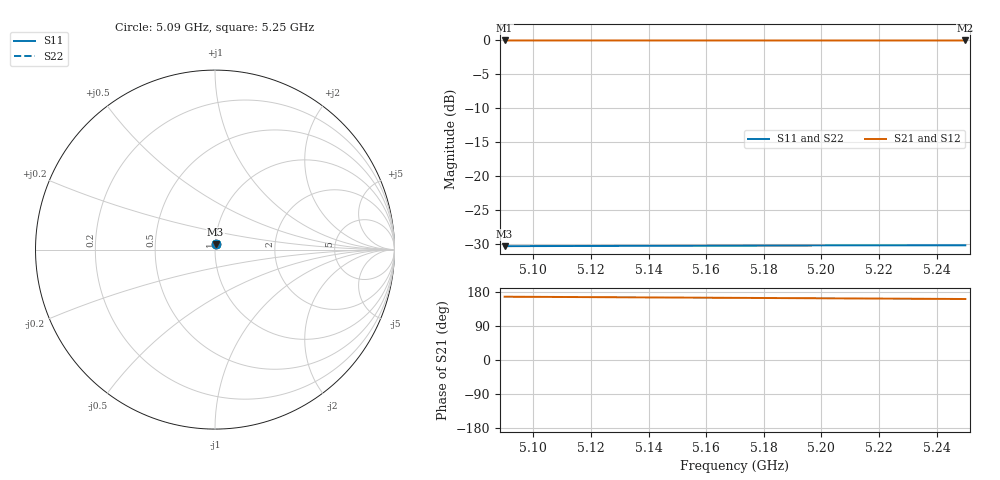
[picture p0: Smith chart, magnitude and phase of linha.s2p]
! Touchstone file exported from HFSS 2024.2.0
!  File:  D:/dev/EMBRAER/P1H/R03_Estudo/ZYF265D/cupom_20/Linha_ZYF265D_20.aedt
!  Generated:  10:24:26 PM Nov  6, 2026
!  Design:  Linha
!  Project:  Linha_ZYF265D_20
!  Setup:  Perda
!  Solution:  Banda
# GHz S RI R 50.000000
! Terminal data exported
! Port[1] = E
! Port[2] = S
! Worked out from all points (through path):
!   17 points, 5.09 GHz to 5.25 GHz, reference 50 ohm
!   highest |S21| = -0.12 dB at 5.09 GHz (marker M1); lowest = -0.1 dB at 5.25 GHz (marker M2)
!   group delay of S21, straight-line fit = 106 ps
!   lowest |S11| = -30.4 dB at 5.09 GHz (marker M3), VSWR 1.06, Z = 50.2 + j3.03 ohm
!   |S11| at or under -10 dB: start of sweep to end of sweep
!   |S22| runs from -30.4 to -30.3 dB; largest |S21 - S12| = 1e-15
5.09  0.00304 0.0302  -0.9613 0.2212  -0.9613 0.2212  0.00303 0.0301
! Gamma 0 0 0 0
! Port Impedance 50 0 50 0
5.1  0.00324 0.0302  -0.9598 0.2276  -0.9598 0.2276  0.00323 0.0301
5.11  0.00343 0.0302  -0.9582 0.234  -0.9582 0.234  0.00343 0.0301
5.12  0.00363 0.0302  -0.9566 0.2403  -0.9566 0.2403  0.00363 0.0301
5.13  0.00382 0.0302  -0.955 0.2467  -0.955 0.2467  0.00384 0.0301
5.14  0.00402 0.0302  -0.9533 0.253  -0.9533 0.253  0.00404 0.0301
5.15  0.00422 0.0302  -0.9515 0.2593  -0.9515 0.2593  0.00424 0.0301
5.16  0.00441 0.0302  -0.9498 0.2656  -0.9498 0.2656  0.00444 0.0301
5.17  0.00461 0.0302  -0.9479 0.2719  -0.9479 0.2719  0.00465 0.0301
5.18  0.0048 0.0302  -0.9461 0.2782  -0.9461 0.2782  0.00485 0.0301
5.19  0.005 0.0302  -0.9442 0.2845  -0.9442 0.2845  0.00505 0.0301
5.2  0.0052 0.0302  -0.9422 0.2908  -0.9422 0.2908  0.00525 0.0301
5.21  0.00539 0.0302  -0.9402 0.297  -0.9402 0.297  0.00546 0.0301
5.22  0.00559 0.0302  -0.9382 0.3032  -0.9382 0.3032  0.00566 0.0301
5.23  0.00578 0.0302  -0.9361 0.3095  -0.9361 0.3095  0.00586 0.0301
5.24  0.00598 0.0302  -0.934 0.3157  -0.934 0.3157  0.00606 0.0301
5.25  0.00617 0.0302  -0.9319 0.3219  -0.9319 0.3219  0.00626 0.03
